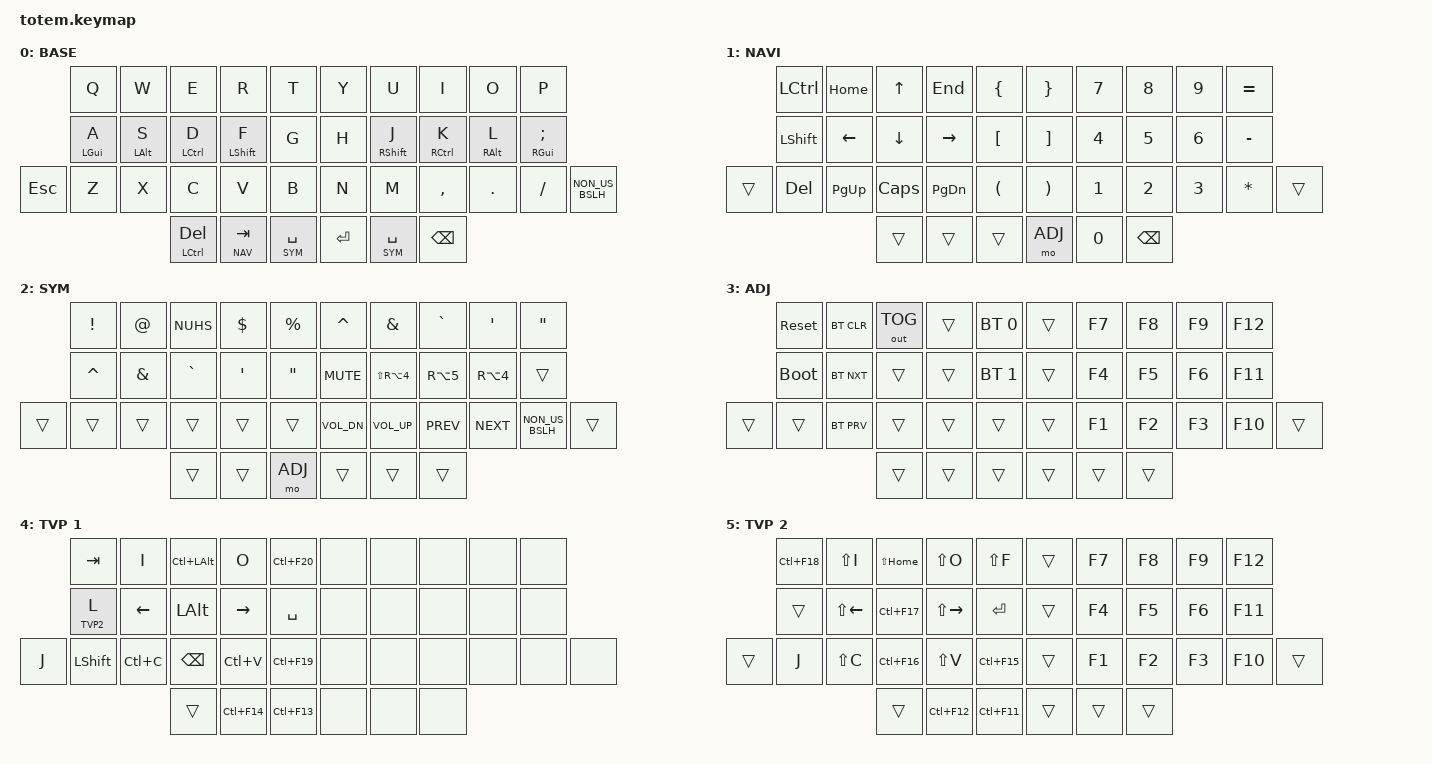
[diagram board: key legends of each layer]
//
//                                                        ▀▀▀▀▀     ▀▀▀▀▀          ▀▀█▀▀
//                                                        ▄▀▀▀▄  ▄  ▄▀▀▀▄  ▄  ▄▀▀▀▄  █  ▄▀▀▀▄
//                                                        █   █  █  █   █  █  █   █  █  █   █
//                                                         ▀▀▀   █   ▀▀▀   █   ▀▀▀   ▀   ▀▀▀
//                                                               █      ▄▄▄█▄▄▄    █   █  
//                                                               ▀      █  █  █     █▄█
//                                                             ▀▀▀▀▀    █  █  █      ▀
//                                                                      ▀  ▀  ▀
//
// ▄▄▄▄▄▄▄▄▄▄▄▄▄▄▄▄▄▄▄▄▄▄▄▄▄▄▄▄▄▄▄▄▄▄▄▄▄▄▄▄▄▄▄▄▄▄▄▄▄▄▄▄▄▄▄▄▄▄▄▄▄▄▄▄▄▄▄▄▄▄▄▄▄▄▄▄▄▄▄▄▄▄▄▄▄▄▄▄▄▄▄▄▄▄▄▄▄▄▄▄▄▄▄▄▄▄▄▄▄▄▄▄▄▄▄▄▄▄▄▄▄▄▄▄▄▄▄▄▄▄▄▄▄▄▄▄▄▄▄▄▄▄▄▄▄▄▄▄▄
       

#include <behaviors.dtsi>
#include <dt-bindings/zmk/keys.h>
#include <dt-bindings/zmk/bt.h>
#include <dt-bindings/zmk/outputs.h>

#define BASE 0
#define NAV  1
#define SYM  2
#define ADJ  3
#define TVP1 4
#define TVP2 5

&mt {
  quick-tap-ms = <100>;
  global-quick-tap;
  flavor = "tap-preferred";
  tapping-term-ms = <170>;
};

/ {
     combos {
            compatible = "zmk,combos";
            combo_esc {
                timeout-ms = <50>;
                key-positions = <0 1>;
                bindings = <&kp ESC>;
            };
            combo_tvp {
                timeout-ms = <100>;
                key-positions = <11 12 13>;
                bindings = <&tog TVP1>;
            };
    };

    macros {
        gif: gif {
            label = "giphy";
            compatible = "zmk,behavior-macro";
            #binding-cells = <0>;
            bindings
                = <&macro_press &kp LSHFT>
                , <&macro_tap &kp N2>
                , <&macro_release &kp LSHFT>
                , <&macro_tap &kp G &kp I &kp F>
                ;
        };
    };

        keymap {
                compatible = "zmk,keymap";
// ▄▄▄▄▄▄▄▄▄▄▄▄▄▄▄▄▄▄▄▄▄▄▄▄▄▄▄▄▄▄▄▄▄▄▄▄▄▄▄▄▄▄▄▄▄▄▄▄▄▄▄▄▄▄▄▄▄▄▄▄▄▄▄▄▄▄▄▄▄▄▄▄▄▄▄▄▄▄▄▄▄▄▄▄▄▄▄▄▄▄▄▄▄▄▄▄▄▄▄▄▄▄▄▄▄▄▄▄▄▄▄▄▄▄▄▄▄▄▄▄▄▄▄▄▄▄▄▄▄▄▄▄▄▄▄▄▄▄▄▄▄▄▄▄▄▄▄▄▄

                base_layer {
// ┏━━━━━━━━━━━━━━━━━━━━━━━━━━━━━━━━━━━━━━━┓
label= "BASE"                              ;
// ┗━━━━━━━━━━━━━━━━━━━━━━━━━━━━━━━━━━━━━━━┛
//             ┏━━━━━━━━━━━┳━━━━━━━━━━━┳━━━━━━━━━━━┳━━━━━━━━━━━┳━━━━━━━━━━━┓   ┏━━━━━━━━━━━┳━━━━━━━━━━━┳━━━━━━━━━━━┳━━━━━━━━━━━┳━━━━━━━━━━━┓
//             ┃     Q     ┃     W     ┃     E     ┃     R     ┃     T     ┃   ┃     Y     ┃     U     ┃     I     ┃     O     ┃     P     ┃
//             ┣━━━━━━━━━━━╋━━━━━━━━━━━╋━━━━━━━━━━━╋━━━━━━━━━━━╋━━━━━━━━━━━┫   ┣━━━━━━━━━━━╋━━━━━━━━━━━╋━━━━━━━━━━━╋━━━━━━━━━━━╋━━━━━━━━━━━┫
//             ┃     A     ┃     S     ┃     D     ┃     F     ┃     G     ┃   ┃     H     ┃     J     ┃     K     ┃     L     ┃     ;     ┃
// ┏━━━━━━━━━━━╋━━━━━━━━━━━╋━━━━━━━━━━━╋━━━━━━━━━━━╋━━━━━━━━━━━╋━━━━━━━━━━━┫   ┣━━━━━━━━━━━╋━━━━━━━━━━━╋━━━━━━━━━━━╋━━━━━━━━━━━╋━━━━━━━━━━━╋━━━━━━━━━━━┓
// ┃    ESC    ┃     Z     ┃     X     ┃     C     ┃     V     ┃     B     ┃   ┃     N     ┃     M     ┃     ,     ┃     .     ┃     /     ┃     \     ┃
// ┗━━━━━━━━━━━┻━━━━━━━━━━━┻━━━━━━━━━━━╋━━━━━━━━━━━╋━━━━━━━━━━━╋━━━━━━━━━━━┫   ┣━━━━━━━━━━━╋━━━━━━━━━━━╋━━━━━━━━━━━╋━━━━━━━━━━━┻━━━━━━━━━━━┻━━━━━━━━━━━┛
//                                     ┃    DEL    ┃    TAB    ┃    SPC    ┃   ┃   ENTER   ┃    SPC    ┃   BSPC    ┃
//                                     ┗━━━━━━━━━━━┻━━━━━━━━━━━┻━━━━━━━━━━━┛   ┗━━━━━━━━━━━┻━━━━━━━━━━━┻━━━━━━━━━━━┛
 bindings = <
// ╷           ╷           ╷           ╷           ╷           ╷           ╷   ╷           ╷           ╷           ╷           ╷           ╷           ╷

                &kp Q       &kp W       &kp E       &kp R       &kp T           &kp Y       &kp U       &kp I       &kp O       &kp P
                &mt LGUI A  &mt LALT S  &mt LCTRL D &mt LSHFT F &kp G           &kp H       &mt RSHFT J &mt RCTRL K &mt RALT L  &mt RGUI SEMI
    &kp ESC     &kp Z       &kp X       &kp C       &kp V       &kp B           &kp N       &kp M       &kp COMMA   &kp DOT     &kp FSLH    &kp NON_US_BSLH
                                        &mt LCTRL DEL  &lt NAV TAB  &lt SYM SPC   &kp RET   &lt SYM SPC   &kp BSPC
                        >;
                };

// ▄▄▄▄▄▄▄▄▄▄▄▄▄▄▄▄▄▄▄▄▄▄▄▄▄▄▄▄▄▄▄▄▄▄▄▄▄▄▄▄▄▄▄▄▄▄▄▄▄▄▄▄▄▄▄▄▄▄▄▄▄▄▄▄▄▄▄▄▄▄▄▄▄▄▄▄▄▄▄▄▄▄▄▄▄▄▄▄▄▄▄▄▄▄▄▄▄▄▄▄▄▄▄▄▄▄▄▄▄▄▄▄▄▄▄▄▄▄▄▄▄▄▄▄▄▄▄▄▄▄▄▄▄▄▄▄▄▄▄▄▄▄▄▄▄▄▄▄▄


                nav_layer {
// ┏━━━━━━━━━━━━━━━━━━━━━━━━━━━━━━━━━━━━━━━┓
label= "NAVI"                              ;
// ┗━━━━━━━━━━━━━━━━━━━━━━━━━━━━━━━━━━━━━━━┛
//             ┏━━━━━━━━━━━┳━━━━━━━━━━━┳━━━━━━━━━━━┳━━━━━━━━━━━┳━━━━━━━━━━━┓   ┏━━━━━━━━━━━┳━━━━━━━━━━━┳━━━━━━━━━━━┳━━━━━━━━━━━┳━━━━━━━━━━━┓
//             ┃    CTRL   ┃   HOME    ┃     UP    ┃    END    ┃     {     ┃   ┃     }     ┃     7     ┃     8     ┃     9     ┃     =     ┃
//             ┣━━━━━━━━━━━╋━━━━━━━━━━━╋━━━━━━━━━━━╋━━━━━━━━━━━╋━━━━━━━━━━━┫   ┣━━━━━━━━━━━╋━━━━━━━━━━━╋━━━━━━━━━━━╋━━━━━━━━━━━╋━━━━━━━━━━━┫
//             ┃   SHIFT   ┃   LEFT    ┃    DOWN   ┃   RIGHT   ┃     [     ┃   ┃     ]     ┃     4     ┃     5     ┃     6     ┃     -     ┃
// ┏━━━━━━━━━━━╋━━━━━━━━━━━╋━━━━━━━━━━━╋━━━━━━━━━━━╋━━━━━━━━━━━╋━━━━━━━━━━━┫   ┣━━━━━━━━━━━╋━━━━━━━━━━━╋━━━━━━━━━━━╋━━━━━━━━━━━╋━━━━━━━━━━━╋━━━━━━━━━━━┓
// ┃           ┃    DEL    ┃   P UP    ┃  C LOCK   ┃  P DOWN   ┃     (     ┃   ┃     )     ┃     1     ┃     2     ┃     3     ┃     *     ┃           ┃
// ┗━━━━━━━━━━━┻━━━━━━━━━━━┻━━━━━━━━━━━╋━━━━━━━━━━━╋━━━━━━━━━━━╋━━━━━━━━━━━┫   ┣━━━━━━━━━━━╋━━━━━━━━━━━╋━━━━━━━━━━━╋━━━━━━━━━━━┻━━━━━━━━━━━┻━━━━━━━━━━━┛
//                                     ┃    DEL    ┃    TAB    ┃    SPC    ┃   ┃    ADJ    ┃     0     ┃    BSPC   ┃
//                                     ┗━━━━━━━━━━━┻━━━━━━━━━━━┻━━━━━━━━━━━┛   ┗━━━━━━━━━━━┻━━━━━━━━━━━┻━━━━━━━━━━━┛
 bindings = <
// ╷           ╷           ╷           ╷           ╷           ╷           ╷   ╷           ╷           ╷           ╷           ╷           ╷           ╷

                &kp LCTRL   &kp HOME    &kp UP      &kp END     &kp LBRC        &kp RBRC    &kp N7      &kp N8      &kp N9      &kp EQUAL
                &kp LSHFT   &kp LEFT    &kp DOWN    &kp RIGHT   &kp LBKT        &kp RBKT    &kp N4      &kp N5      &kp N6      &kp MINUS
    &trans      &kp DEL     &kp PG_UP   &kp CAPS    &kp PG_DN   &kp LPAR        &kp RPAR    &kp N1      &kp N2      &kp N3      &kp ASTRK &trans      
                                        &trans      &trans      &trans          &mo ADJ     &kp N0      &kp BSPC      
                        >;
                };

// ▄▄▄▄▄▄▄▄▄▄▄▄▄▄▄▄▄▄▄▄▄▄▄▄▄▄▄▄▄▄▄▄▄▄▄▄▄▄▄▄▄▄▄▄▄▄▄▄▄▄▄▄▄▄▄▄▄▄▄▄▄▄▄▄▄▄▄▄▄▄▄▄▄▄▄▄▄▄▄▄▄▄▄▄▄▄▄▄▄▄▄▄▄▄▄▄▄▄▄▄▄▄▄▄▄▄▄▄▄▄▄▄▄▄▄▄▄▄▄▄▄▄▄▄▄▄▄▄▄▄▄▄▄▄▄▄▄▄▄▄▄▄▄▄▄▄▄▄▄


                sim_layer {
// ┏━━━━━━━━━━━━━━━━━━━━━━━━━━━━━━━━━━━━━━━┓
label= "SYM"                               ;
// ┗━━━━━━━━━━━━━━━━━━━━━━━━━━━━━━━━━━━━━━━┛
//             ┏━━━━━━━━━━━┳━━━━━━━━━━━┳━━━━━━━━━━━┳━━━━━━━━━━━┳━━━━━━━━━━━┓   ┏━━━━━━━━━━━┳━━━━━━━━━━━┳━━━━━━━━━━━┳━━━━━━━━━━━┳━━━━━━━━━━━┓
//             ┃     !     ┃     "     ┃     #     ┃     $     ┃     %     ┃   ┃     ˆ     ┃     &     ┃     `     ┃     '     ┃     @     ┃
//             ┣━━━━━━━━━━━╋━━━━━━━━━━━╋━━━━━━━━━━━╋━━━━━━━━━━━╋━━━━━━━━━━━┫   ┣━━━━━━━━━━━╋━━━━━━━━━━━╋━━━━━━━━━━━╋━━━━━━━━━━━╋━━━━━━━━━━━┫
//             ┃     ^     ┃     &     ┃     `     ┃     '     ┃     @     ┃   ┃   MUTE    ┃   YEN     ┃   EURO    ┃  POUND    ┃           ┃
// ┏━━━━━━━━━━━╋━━━━━━━━━━━╋━━━━━━━━━━━╋━━━━━━━━━━━╋━━━━━━━━━━━╋━━━━━━━━━━━┫   ┣━━━━━━━━━━━╋━━━━━━━━━━━╋━━━━━━━━━━━╋━━━━━━━━━━━╋━━━━━━━━━━━╋━━━━━━━━━━━┓
// ┃           ┃           ┃           ┃           ┃           ┃           ┃   ┃   VOL-    ┃   VOL+    ┃   LAST    ┃   NEXT    ┃     \     ┃           ┃
// ┗━━━━━━━━━━━┻━━━━━━━━━━━┻━━━━━━━━━━━╋━━━━━━━━━━━╋━━━━━━━━━━━╋━━━━━━━━━━━┫   ┣━━━━━━━━━━━╋━━━━━━━━━━━╋━━━━━━━━━━━╋━━━━━━━━━━━┻━━━━━━━━━━━┻━━━━━━━━━━━┛
//                                     ┃           ┃           ┃    ADJ    ┃   ┃           ┃           ┃           ┃
//                                     ┗━━━━━━━━━━━┻━━━━━━━━━━━┻━━━━━━━━━━━┛   ┗━━━━━━━━━━━┻━━━━━━━━━━━┻━━━━━━━━━━━┛
 bindings = <
// ╷           ╷           ╷           ╷           ╷           ╷           ╷   ╷           ╷           ╷           ╷           ╷           ╷           ╷

                &kp EXCL    &kp AT      &kp NUHS    &kp DLLR    &kp PRCNT       &kp CARET   &kp AMPS    &kp GRAVE   &kp SQT     &kp DQT       
                &kp CARET   &kp AMPS    &kp GRAVE   &kp SQT     &kp DQT         &kp C_MUTE  &kp LS(RA(N4)) &kp RA(N5) &kp RA(N4)   &trans 
    &trans      &trans      &trans      &trans      &trans      &trans          &kp C_VOL_DN &kp C_VOL_UP &kp C_PREV &kp C_NEXT  &kp NON_US_BSLH  &trans         
                                        &trans      &trans      &mo ADJ         &trans      &trans      &trans      
                        >;
                };

// ▄▄▄▄▄▄▄▄▄▄▄▄▄▄▄▄▄▄▄▄▄▄▄▄▄▄▄▄▄▄▄▄▄▄▄▄▄▄▄▄▄▄▄▄▄▄▄▄▄▄▄▄▄▄▄▄▄▄▄▄▄▄▄▄▄▄▄▄▄▄▄▄▄▄▄▄▄▄▄▄▄▄▄▄▄▄▄▄▄▄▄▄▄▄▄▄▄▄▄▄▄▄▄▄▄▄▄▄▄▄▄▄▄▄▄▄▄▄▄▄▄▄▄▄▄▄▄▄▄▄▄▄▄▄▄▄▄▄▄▄▄▄▄▄▄▄▄▄▄


                adjust_layer {
// ┏━━━━━━━━━━━━━━━━━━━━━━━━━━━━━━━━━━━━━━━┓
label= "ADJ"                               ;
// ┗━━━━━━━━━━━━━━━━━━━━━━━━━━━━━━━━━━━━━━━┛
//             ┏━━━━━━━━━━━┳━━━━━━━━━━━┳━━━━━━━━━━━┳━━━━━━━━━━━┳━━━━━━━━━━━┓   ┏━━━━━━━━━━━┳━━━━━━━━━━━┳━━━━━━━━━━━┳━━━━━━━━━━━┳━━━━━━━━━━━┓
//             ┃   RESET   ┃ BT CLEAR  ┃  OUT TOG  ┃           ┃  BT SEL 0 ┃   ┃           ┃    F7     ┃    F8     ┃    F9     ┃    F12    ┃
//             ┣━━━━━━━━━━━╋━━━━━━━━━━━╋━━━━━━━━━━━╋━━━━━━━━━━━╋━━━━━━━━━━━┫   ┣━━━━━━━━━━━╋━━━━━━━━━━━╋━━━━━━━━━━━╋━━━━━━━━━━━╋━━━━━━━━━━━┫
//             ┃ BOOTLOAD  ┃ BT NEXT   ┃           ┃           ┃  BT SEL 1 ┃   ┃           ┃    F4     ┃    F5     ┃    F6     ┃    F11    ┃
// ┏━━━━━━━━━━━╋━━━━━━━━━━━╋━━━━━━━━━━━╋━━━━━━━━━━━╋━━━━━━━━━━━╋━━━━━━━━━━━┫   ┣━━━━━━━━━━━╋━━━━━━━━━━━╋━━━━━━━━━━━╋━━━━━━━━━━━╋━━━━━━━━━━━╋━━━━━━━━━━━┓
// ┃           ┃           ┃ BT PREV   ┃           ┃           ┃           ┃   ┃           ┃    F1     ┃    F2     ┃    F3     ┃    F10    ┃           ┃
// ┗━━━━━━━━━━━┻━━━━━━━━━━━┻━━━━━━━━━━━╋━━━━━━━━━━━╋━━━━━━━━━━━╋━━━━━━━━━━━┫   ┣━━━━━━━━━━━╋━━━━━━━━━━━╋━━━━━━━━━━━╋━━━━━━━━━━━┻━━━━━━━━━━━┻━━━━━━━━━━━┛
//                                     ┃           ┃           ┃           ┃   ┃           ┃           ┃           ┃
//                                     ┗━━━━━━━━━━━┻━━━━━━━━━━━┻━━━━━━━━━━━┛   ┗━━━━━━━━━━━┻━━━━━━━━━━━┻━━━━━━━━━━━┛
 bindings = <
// ╷           ╷           ╷           ╷           ╷           ╷           ╷   ╷           ╷           ╷           ╷           ╷           ╷           ╷

                &sys_reset  &bt BT_CLR &out OUT_TOG &trans      &bt BT_SEL 0    &trans      &kp F7      &kp F8      &kp F9      &kp F12
                &bootloader &bt BT_NXT  &trans      &trans      &bt BT_SEL 1    &trans      &kp F4      &kp F5      &kp F6      &kp F11  
    &trans      &trans      &bt BT_PRV  &trans      &trans      &trans          &trans      &kp F1      &kp F2      &kp F3      &kp F10     &trans         
                                        &trans      &trans      &trans          &trans      &trans      &trans      
                        >;
                };

// ▄▄▄▄▄▄▄▄▄▄▄▄▄▄▄▄▄▄▄▄▄▄▄▄▄▄▄▄▄▄▄▄▄▄▄▄▄▄▄▄▄▄▄▄▄▄▄▄▄▄▄▄▄▄▄▄▄▄▄▄▄▄▄▄▄▄▄▄▄▄▄▄▄▄▄▄▄▄▄▄▄▄▄▄▄▄▄▄▄▄▄▄▄▄▄▄▄▄▄▄▄▄▄▄▄▄▄▄▄▄▄▄▄▄▄▄▄▄▄▄▄▄▄▄▄▄▄▄▄▄▄▄▄▄▄▄▄▄▄▄▄▄▄▄▄▄▄▄▄


                tvp1_layer {
// ┏━━━━━━━━━━━━━━━━━━━━━━━━━━━━━━━━━━━━━━━┓
label= "TVP 1"                             ;
// ┗━━━━━━━━━━━━━━━━━━━━━━━━━━━━━━━━━━━━━━━┛
//             ┏━━━━━━━━━━━┳━━━━━━━━━━━┳━━━━━━━━━━━┳━━━━━━━━━━━┳━━━━━━━━━━━┓   ┏━━━━━━━━━━━┳━━━━━━━━━━━┳━━━━━━━━━━━┳━━━━━━━━━━━┳━━━━━━━━━━━┓
//             ┃ NEXT FILE ┃ MARK IN   ┃ ROTATE    ┃ MARK OUT  ┃ SHOW SNAP ┃   ┃           ┃           ┃           ┃           ┃           ┃
//             ┣━━━━━━━━━━━╋━━━━━━━━━━━╋━━━━━━━━━━━╋━━━━━━━━━━━╋━━━━━━━━━━━┫   ┣━━━━━━━━━━━╋━━━━━━━━━━━╋━━━━━━━━━━━╋━━━━━━━━━━━╋━━━━━━━━━━━┫
//             ┃ TVP II    ┃ LEFT      ┃ PAN       ┃ RIGHT     ┃ PLAY/FLIP ┃   ┃           ┃           ┃           ┃           ┃           ┃
// ┏━━━━━━━━━━━╋━━━━━━━━━━━╋━━━━━━━━━━━╋━━━━━━━━━━━╋━━━━━━━━━━━╋━━━━━━━━━━━┫   ┣━━━━━━━━━━━╋━━━━━━━━━━━╋━━━━━━━━━━━╋━━━━━━━━━━━╋━━━━━━━━━━━╋━━━━━━━━━━━┓
// ┃ FULLSCR   ┃ SHIFT     ┃ COPY      ┃ DELETE    ┃ PASTE     ┃ IMG MARK  ┃   ┃           ┃           ┃           ┃           ┃           ┃           ┃
// ┗━━━━━━━━━━━┻━━━━━━━━━━━┻━━━━━━━━━━━╋━━━━━━━━━━━╋━━━━━━━━━━━╋━━━━━━━━━━━┫   ┣━━━━━━━━━━━╋━━━━━━━━━━━╋━━━━━━━━━━━╋━━━━━━━━━━━┻━━━━━━━━━━━┻━━━━━━━━━━━┛
//                                     ┃           ┃ UNDO/SAVE ┃  SEL/MOV  ┃   ┃           ┃           ┃           ┃
//                                     ┗━━━━━━━━━━━┻━━━━━━━━━━━┻━━━━━━━━━━━┛   ┗━━━━━━━━━━━┻━━━━━━━━━━━┻━━━━━━━━━━━┛
 bindings = <
// ╷           ╷           ╷           ╷           ╷           ╷           ╷   ╷           ╷           ╷           ╷           ╷           ╷           ╷

                &kp TAB     &kp I       &kp LC(LALT) &kp O      &kp LC(F20)     &none       &none       &none       &none       &none
                &lt TVP2 L  &kp LEFT    &kp LALT    &kp RIGHT   &kp SPACE       &none       &none       &none       &none       &none
    &kp J       &kp LSHFT   &kp LC(C)   &kp BSPC    &kp LC(V)   &kp LC(F19)     &none       &none       &none       &none       &none       &none        
                                        &trans      &kp LC(F14) &kp LC(F13)     &none       &none       &none    
                        >;
                };

// ▄▄▄▄▄▄▄▄▄▄▄▄▄▄▄▄▄▄▄▄▄▄▄▄▄▄▄▄▄▄▄▄▄▄▄▄▄▄▄▄▄▄▄▄▄▄▄▄▄▄▄▄▄▄▄▄▄▄▄▄▄▄▄▄▄▄▄▄▄▄▄▄▄▄▄▄▄▄▄▄▄▄▄▄▄▄▄▄▄▄▄▄▄▄▄▄▄▄▄▄▄▄▄▄▄▄▄▄▄▄▄▄▄▄▄▄▄▄▄▄▄▄▄▄▄▄▄▄▄▄▄▄▄▄▄▄▄▄▄▄▄▄▄▄▄▄▄▄▄


                tvp2_layer {
// ┏━━━━━━━━━━━━━━━━━━━━━━━━━━━━━━━━━━━━━━━┓
label= "TVP 2"                             ;
// ┗━━━━━━━━━━━━━━━━━━━━━━━━━━━━━━━━━━━━━━━┛
//             ┏━━━━━━━━━━━┳━━━━━━━━━━━┳━━━━━━━━━━━┳━━━━━━━━━━━┳━━━━━━━━━━━┓   ┏━━━━━━━━━━━┳━━━━━━━━━━━┳━━━━━━━━━━━┳━━━━━━━━━━━┳━━━━━━━━━━━┓
//             ┃ SOLO      ┃ TOGGLE IN ┃ RESET ROT ┃ TOGGLE OUT┃ TAKE SNAP ┃   ┃           ┃           ┃           ┃           ┃           ┃
//             ┣━━━━━━━━━━━╋━━━━━━━━━━━╋━━━━━━━━━━━╋━━━━━━━━━━━╋━━━━━━━━━━━┫   ┣━━━━━━━━━━━╋━━━━━━━━━━━╋━━━━━━━━━━━╋━━━━━━━━━━━╋━━━━━━━━━━━┫
//             ┃ ---       ┃ LAST KEY  ┃ NEW KEY   ┃ NEXT KEY  ┃ ENTER     ┃   ┃           ┃           ┃           ┃           ┃           ┃
// ┏━━━━━━━━━━━╋━━━━━━━━━━━╋━━━━━━━━━━━╋━━━━━━━━━━━╋━━━━━━━━━━━╋━━━━━━━━━━━┫   ┣━━━━━━━━━━━╋━━━━━━━━━━━╋━━━━━━━━━━━╋━━━━━━━━━━━╋━━━━━━━━━━━╋━━━━━━━━━━━┓
// ┃           ┃ FULLSCR   ┃ CPY2BRUSH ┃ DEL HEAD  ┃ PSTinPLACE┃ BOOK MARK ┃   ┃           ┃           ┃           ┃           ┃           ┃           ┃
// ┗━━━━━━━━━━━┻━━━━━━━━━━━┻━━━━━━━━━━━╋━━━━━━━━━━━╋━━━━━━━━━━━╋━━━━━━━━━━━┫   ┣━━━━━━━━━━━╋━━━━━━━━━━━╋━━━━━━━━━━━╋━━━━━━━━━━━┻━━━━━━━━━━━┻━━━━━━━━━━━┛
//                                     ┃           ┃ REDO/SAV1 ┃TRANS/WARP ┃   ┃           ┃           ┃           ┃
//                                     ┗━━━━━━━━━━━┻━━━━━━━━━━━┻━━━━━━━━━━━┛   ┗━━━━━━━━━━━┻━━━━━━━━━━━┻━━━━━━━━━━━┛
 bindings = <
// ╷           ╷           ╷           ╷           ╷           ╷           ╷   ╷           ╷           ╷           ╷           ╷           ╷           ╷

                &kp LC(F18) &kp LS(I)  &kp LS(HOME) &kp LS(O)   &kp LS(F)       &trans      &kp F7      &kp F8      &kp F9      &kp F12
                &trans      &kp LS(LEFT) &kp LC(F17) &kp LS(RIGHT) &kp RET      &trans      &kp F4      &kp F5      &kp F6      &kp F11  
    &trans      &kp J       &kp LS(C)   &kp LC(F16) &kp LS(V)   &kp LC(F15)     &trans      &kp F1      &kp F2      &kp F3      &kp F10     &trans         
                                        &trans      &kp LC(F12) &kp LC(F11)     &trans      &trans      &trans      
                        >;
                };
        };
};
